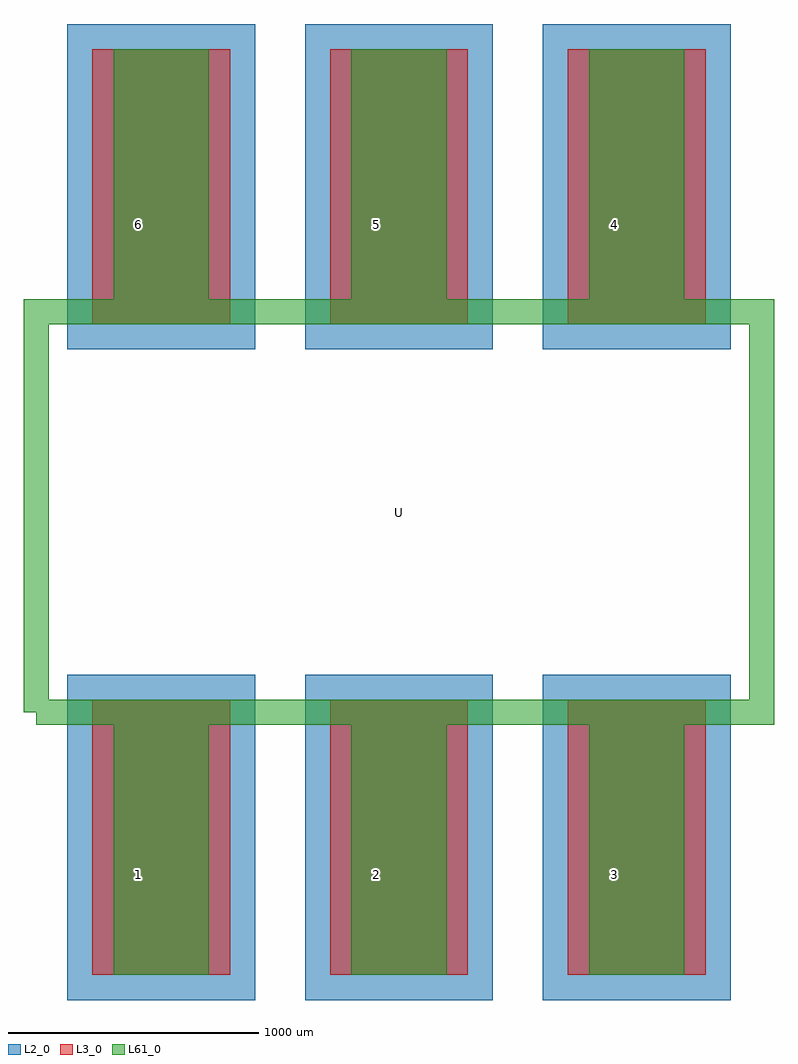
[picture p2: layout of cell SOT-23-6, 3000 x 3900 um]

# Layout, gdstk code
import gdstk
lib = gdstk.Library(unit=1e-6, precision=1e-09)
def R(c, l, rs):  # rectangles x0, y0, x1, y1
    for r in rs: c.add(gdstk.rectangle(r[:2], r[2:], *l))
def A(c, l, x, y, w, h, nx, ny, dx, dy):  # array of equal rectangles
    R(c, l, [(x+i*dx, y+j*dy, x+i*dx+w, y+j*dy+h) for i in range(nx) for j in range(ny)])
L2_0 = (2, 0)
L3_0 = (3, 0)
L61_0 = (61, 0)

sot_23_6 = lib.new_cell('SOT-23-6')
A(sot_23_6, L2_0, 125, -1150, 750, 1300, 3, 2, 950, 2600)
A(sot_23_6, L3_0, 225, -1050, 550, 1100, 3, 2, 950, 2600)
A(sot_23_6, L61_0, 310, -1050, 380, 800, 3, 2, 950, 2900)
A(sot_23_6, L61_0, 310, -250, 380, 250, 3, 2, 950, 1850)
sot_23_6.add(gdstk.FlexPath([(0,0),(2900,0),(2900,1600),(0,1600),(0,0)], 100, ends="flush", simple_path=True, layer=61, datatype=0))  # L61_0
sot_23_6.add(gdstk.Label('1', (410,-650), layer=3, texttype=0))
sot_23_6.add(gdstk.Label('2', (1360,-650), layer=3, texttype=0))
sot_23_6.add(gdstk.Label('3', (2310,-650), layer=3, texttype=0))
sot_23_6.add(gdstk.Label('4', (2310,1950), layer=3, texttype=0))
sot_23_6.add(gdstk.Label('5', (1360,1950), layer=3, texttype=0))
sot_23_6.add(gdstk.Label('6', (410,1950), layer=3, texttype=0))
sot_23_6.add(gdstk.Label('U', (1450,800), layer=62, texttype=0))

lib.write_gds('SOT-23-6.gds')
